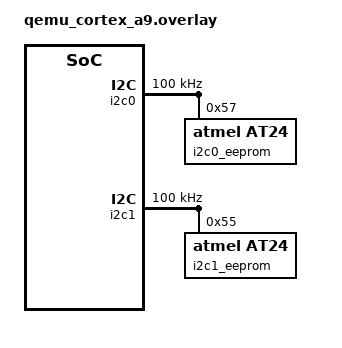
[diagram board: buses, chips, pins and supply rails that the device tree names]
/*
 * Copyright (c) 2022 Google LLC
 *
 * SPDX-License-Identifier: Apache-2.0
 */

#include <zephyr/dt-bindings/i2c/i2c.h>

/ {
	/* qemu_cortex_a9 board isn't configured with an I2C node */
 	i2c0: i2c@100 {
		status = "okay";
		compatible = "zephyr,i2c-emul-controller";
		#address-cells = <1>;
		#size-cells = <0>;
		reg = <0x100 4>;
	};
 	i2c1: i2c@200 {
		status = "okay";
		compatible = "zephyr,i2c-emul-controller";
		#address-cells = <1>;
		#size-cells = <0>;
		reg = <0x200 4>;
	};

	/*
	 * This node enables CONFIG_I2C_SHELL_CONTROLLER_LIST.  Only map in
	 * one I2C controller to verify the shell command doesn't allow
	 * scanning of the second controller.
	 */
	i2c-shell {
		compatible = "i2c-shell";
		i2c-controllers = <&i2c0>;
		i2c-controller-names = "I2C_BUS_PRIMARY";
	};
};

&i2c0 {
	clock-frequency = <I2C_BITRATE_STANDARD>;
	i2c0_eeprom: eeprom@57 {
		compatible = "atmel,at24";
		reg = <0x57>;
		size = <256>;
		pagesize = <8>;
		address-width = <8>;
		timeout = <5>;
	};
};

&i2c1 {
	clock-frequency = <I2C_BITRATE_STANDARD>;
	i2c1_eeprom: eeprom@55 {
		compatible = "atmel,at24";
		reg = <0x55>;
		size = <256>;
		pagesize = <8>;
		address-width = <8>;
		timeout = <5>;
	};
};
